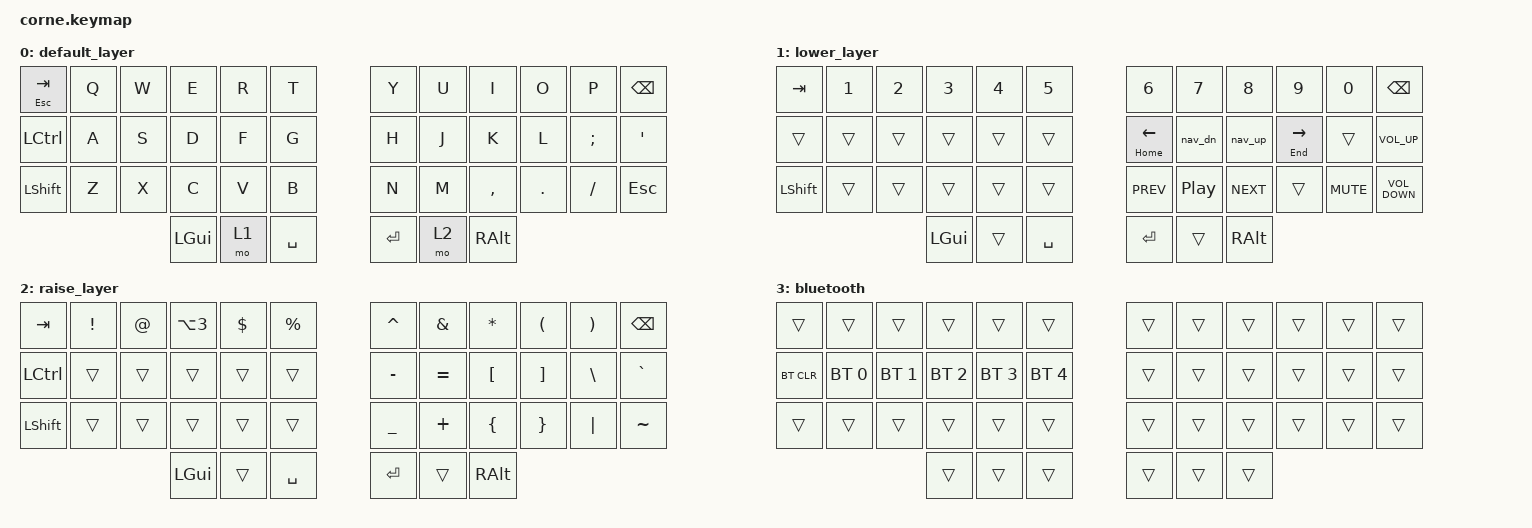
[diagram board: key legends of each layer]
/*
 * Copyright (c) 2020 The ZMK Contributors
 *
 * SPDX-License-Identifier: MIT
 */

#include <behaviors.dtsi>
#include <dt-bindings/zmk/bt.h>
#include <dt-bindings/zmk/keys.h>

/ {
    behaviors {
        // Shared hold-tap: hold sends the first keycode; tap sends the second.
        nav_ht: nav_hold_tap {
            compatible = "zmk,behavior-hold-tap";
            #binding-cells = <2>;
            flavor = "tap-preferred";
            tapping-term-ms = <200>;
            bindings = <&kp>, <&kp>;
        };

        // Tap: Up; hold: Cmd+Up; double-tap: Page Up.
        nav_up: nav_up_dance {
            compatible = "zmk,behavior-tap-dance";
            #binding-cells = <0>;
            tapping-term-ms = <200>;
            bindings = <&nav_ht LG(UP) UP>, <&kp PAGE_UP>;
        };

        // Tap: Down; hold: Cmd+Down; double-tap: Page Down.
        nav_dn: nav_down_dance {
            compatible = "zmk,behavior-tap-dance";
            #binding-cells = <0>;
            tapping-term-ms = <200>;
            bindings = <&nav_ht LG(DOWN) DOWN>, <&kp PAGE_DOWN>;
        };
    };

    keymap {
        compatible = "zmk,keymap";

        default_layer {
            // -----------------------------------------------------------------------------------------
            // |  TAB |  Q  |  W  |  E  |  R  |  T  |   |  Y  |  U   |  I  |  O  |  P  | BSPC |
            // | CTRL |  A  |  S  |  D  |  F  |  G  |   |  H  |  J   |  K  |  L  |  ;  |  '   |
            // | SHFT |  Z  |  X  |  C  |  V  |  B  |   |  N  |  M   |  ,  |  .  |  /  | ESC  |
            //                    | GUI | LWR | SPC |   | ENT | RSE  | ALT |

            bindings = <
&mt ESC TAB  &kp Q  &kp W  &kp E     &kp R  &kp T        &kp Y    &kp U  &kp I      &kp O    &kp P     &kp BSPC
&kp LCTRL    &kp A  &kp S  &kp D     &kp F  &kp G        &kp H    &kp J  &kp K      &kp L    &kp SEMI  &kp SQT
&kp LSHFT    &kp Z  &kp X  &kp C     &kp V  &kp B        &kp N    &kp M  &kp COMMA  &kp DOT  &kp FSLH  &kp ESC
                           &kp LGUI  &mo 1  &kp SPACE    &kp RET  &mo 2  &kp RALT
            >;
        };

        lower_layer {
            // -----------------------------------------------------------------------------------------
            // |  TAB |  1  |  2  |  3  |  4  |  5  |   |  6  |  7  |  8  |  9  |  0  | BSPC |
            // | BTCLR| BT1 | BT2 | BT3 | BT4 | BT5 |   | LFT | DWN |  UP | RGT |     |      |
            // | SHFT |     |     |     |     |     |   |     |     |     |     |     |      |
            //                    | GUI |     | SPC |   | ENT |     | ALT |

            bindings = <
&kp TAB    &kp N1  &kp N2  &kp N3    &kp N4  &kp N5       &kp N6         &kp N7            &kp N8      &kp N9         &kp N0      &kp BSPC
&trans     &trans  &trans  &trans    &trans  &trans       &mt HOME LEFT  &nav_dn           &nav_up     &mt END RIGHT  &trans      &kp C_VOLUME_UP
&kp LSHFT  &trans  &trans  &trans    &trans  &trans       &kp C_PREV     &kp C_PLAY_PAUSE  &kp C_NEXT  &trans         &kp C_MUTE  &kp C_VOLUME_DOWN
                           &kp LGUI  &trans  &kp SPACE    &kp RET        &trans            &kp RALT
            >;
        };

        raise_layer {
            // -----------------------------------------------------------------------------------------
            // |  TAB |  !  |  @  |  #  |  $  |  %  |   |  ^  |  &  |  *  |  (  |  )  | BSPC |
            // | CTRL |     |     |     |     |     |   |  -  |  =  |  [  |  ]  |  \  |  `   |
            // | SHFT |     |     |     |     |     |   |  _  |  +  |  {  |  }  | "|" |  ~   |
            //                    | GUI |     | SPC |   | ENT |     | ALT |

            bindings = <
&kp TAB    &kp EXCL  &kp AT  &kp LA(N3)  &kp DLLR  &kp PRCNT    &kp CARET  &kp AMPS   &kp ASTRK  &kp LPAR  &kp RPAR  &kp BSPC
&kp LCTRL  &trans    &trans  &trans    &trans    &trans       &kp MINUS  &kp EQUAL  &kp LBKT   &kp RBKT  &kp BSLH  &kp GRAVE
&kp LSHFT  &trans    &trans  &trans    &trans    &trans       &kp UNDER  &kp PLUS   &kp LBRC   &kp RBRC  &kp PIPE  &kp TILDE
                             &kp LGUI  &trans    &kp SPACE    &kp RET    &trans     &kp RALT
            >;
        };

        bluetooth {
            bindings = <
&trans      &trans        &trans        &trans        &trans        &trans          &trans  &trans  &trans  &trans  &trans  &trans
&bt BT_CLR  &bt BT_SEL 0  &bt BT_SEL 1  &bt BT_SEL 2  &bt BT_SEL 3  &bt BT_SEL 4    &trans  &trans  &trans  &trans  &trans  &trans
&trans      &trans        &trans        &trans        &trans        &trans          &trans  &trans  &trans  &trans  &trans  &trans
                                        &trans        &trans        &trans          &trans  &trans  &trans
            >;
        };
    };

    conditional_layers {
        compatible = "zmk,conditional-layers";

        bluetooth_layer {
            if-layers = <1 2>;
            then-layer = <3>;
        };
    };
};
